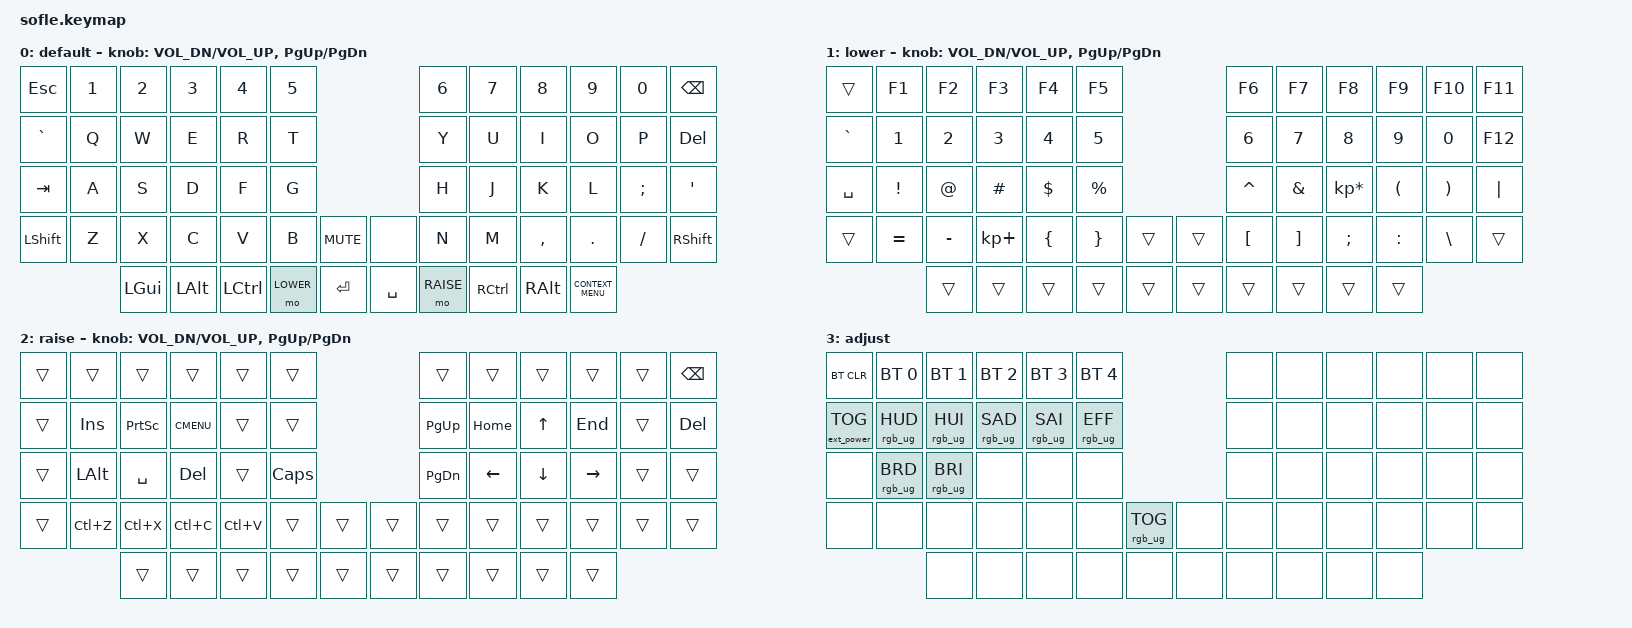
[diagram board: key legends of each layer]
/*
 * Copyright (c) 2020 The ZMK Contributors
 *
 * SPDX-License-Identifier: MIT
 */

#include <behaviors.dtsi>
#include <dt-bindings/zmk/bt.h>
#include <dt-bindings/zmk/ext_power.h>
#include <dt-bindings/zmk/keys.h>
#include <dt-bindings/zmk/rgb.h>

#define BASE 0
#define LOWER 1
#define RAISE 2
#define ADJUST 3

/ {
    // Activate ADJUST layer by pressing raise and lower

    conditional_layers {
        compatible = "zmk,conditional-layers";

        adjust_layer {
            if-layers = <LOWER RAISE>;
            then-layer = <ADJUST>;
        };
    };

    keymap {
        compatible = "zmk,keymap";

        default_layer {
            display-name = "default";

            // ------------------------------------------------------------------------------------------------------------
            // |  ESC  |  1  |  2  |  3   |  4   |  5   |                   |  6   |  7    |  8    |  9   |   0   | BKSPC |
            // |   `   |  Q  |  W  |  E   |  R   |  T   |                   |  Y   |  U    |  I    |  O   |   P   |  DEL  |
            // |  TAB  |  A  |  S  |  D   |  F   |  G   |                   |  H   |  J    |  K    |  L   |   ;   |   '   |
            // | SHIFT |  Z  |  X  |  C   |  V   |  B   |  MUTE  |  |       |  N   |  M    |  ,    |  .   |   /   | SHIFT |
            //               | GUI | ALT  | CTRL | LOWER| ENTER  |  | SPACE | RAISE| CTRL  | ALT   | CONTEXT |

            bindings = <
&kp ESC    &kp N1  &kp N2    &kp N3    &kp N4     &kp N5                              &kp N6     &kp N7     &kp N8     &kp N9              &kp N0    &kp BSPC
&kp GRAVE  &kp Q   &kp W     &kp E     &kp R      &kp T                               &kp Y      &kp U      &kp I      &kp O               &kp P     &kp DEL
&kp TAB    &kp A   &kp S     &kp D     &kp F      &kp G                               &kp H      &kp J      &kp K      &kp L               &kp SEMI  &kp SQT
&kp LSHFT  &kp Z   &kp X     &kp C     &kp V      &kp B      &kp C_MUTE    &none      &kp N      &kp M      &kp COMMA  &kp DOT             &kp FSLH  &kp RSHFT
                   &kp LGUI  &kp LALT  &kp LCTRL  &mo LOWER  &kp RET       &kp SPACE  &mo RAISE  &kp RCTRL  &kp RALT   &kp K_CONTEXT_MENU
            >;

            sensor-bindings = <&inc_dec_kp C_VOL_DN C_VOL_UP &inc_dec_kp PG_UP PG_DN>;
        };

        lower_layer {
            display-name = "lower";

            // TODO: Some binds are waiting for shifted keycode support.
            // ------------------------------------------------------------------------------------------------------------
            // |       |  F1 |  F2 |  F3  |  F4  |  F5  |                   |  F6  |  F7   |  F8   |  F9  |  F10  |  F11  |
            // |   `   |  1  |  2  |  3   |  4   |  5   |                   |  6   |  7    |  8    |  9   |   0   |  F12  |
            // |       |  !  |  @  |  #   |  $   |  %   |                   |  ^   |  &    |  *    |  (   |   )   |   |   |
            // |       |  =  |  -  |  +   |  {   |  }   |        |  |       |  [   |  ]    |  ;    |  :   |   \   |       |
            //               |     |      |      |      |        |  |       |      |       |       |      |

            bindings = <
&trans     &kp F1     &kp F2     &kp F3       &kp F4    &kp F5                       &kp F6     &kp F7    &kp F8           &kp F9     &kp F10   &kp F11
&kp GRAVE  &kp N1     &kp N2     &kp N3       &kp N4    &kp N5                       &kp N6     &kp N7    &kp N8           &kp N9     &kp N0    &kp F12
&kp SPACE  &kp EXCL   &kp AT     &kp HASH     &kp DLLR  &kp PRCNT                    &kp CARET  &kp AMPS  &kp KP_MULTIPLY  &kp LPAR   &kp RPAR  &kp PIPE
&trans     &kp EQUAL  &kp MINUS  &kp KP_PLUS  &kp LBRC  &kp RBRC   &trans    &trans  &kp LBKT   &kp RBKT  &kp SEMI         &kp COLON  &kp BSLH  &trans
                      &trans     &trans       &trans    &trans     &trans    &trans  &trans     &trans    &trans           &trans
            >;

            sensor-bindings = <&inc_dec_kp C_VOL_DN C_VOL_UP &inc_dec_kp PG_UP PG_DN>;
        };

        raise_layer {
            display-name = "raise";

            // ------------------------------------------------------------------------------------------------------------
            // | BTCLR | BT1  | BT2  |  BT3  |  BT4  |  BT5 |                |      |      |       |      |       | BKSPC |
            // |       | INS  | PSCR | GUI   |       |      |                | PGUP | HOME |   ^   | END  |       |  DEL  |
            // |       | ALT  | CTRL | SHIFT |       | CAPS |                | PGDN |   <- |   v   |  ->  |       |       |
            // |       | UNDO | CUT  | COPY  | PASTE |      |      |  |      |      |      |       |      |       |       |
            //                |      |       |       |      |      |  |      |      |      |       |      |

            bindings = <
&trans  &trans     &trans     &trans       &trans     &trans                      &trans     &trans    &trans    &trans     &trans  &kp BSPC
&trans  &kp INS    &kp PSCRN  &kp K_CMENU  &trans     &trans                      &kp PG_UP  &kp HOME  &kp UP    &kp END    &trans  &kp DEL
&trans  &kp LALT   &kp SPACE  &kp DELETE   &trans     &kp CLCK                    &kp PG_DN  &kp LEFT  &kp DOWN  &kp RIGHT  &trans  &trans
&trans  &kp LC(Z)  &kp LC(X)  &kp LC(C)    &kp LC(V)  &trans    &trans    &trans  &trans     &trans    &trans    &trans     &trans  &trans
                   &trans     &trans       &trans     &trans    &trans    &trans  &trans     &trans    &trans    &trans
            >;

            sensor-bindings = <&inc_dec_kp C_VOL_DN C_VOL_UP &inc_dec_kp PG_UP PG_DN>;
        };

        adjust_layer {
            // ----------------------------------------------------------------------------------------------------------------------------
            // | BTCLR  |  BT1    |  BT2    |   BT3   |   BT4   |   BT5   |                  |      |      |       |      |       |       |
            // | EXTPWR | RGB_HUD | RGB_HUI | RGB_SAD | RGB_SAI | RGB_EFF |                  |      |      |       |      |       |       |
            // |        | RGB_BRD | RGB_BRI |         |         |         |                  |      |      |       |      |       |       |
            // |        |         |         |         |         |         | RGB_TOG | |      |      |      |       |      |       |       |
            //                    |         |         |         |         |         | |      |      |      |       |      |

            display-name = "adjust";
            bindings = <
&bt BT_CLR         &bt BT_SEL 0     &bt BT_SEL 1     &bt BT_SEL 2     &bt BT_SEL 3     &bt BT_SEL 4                               &none  &none  &none  &none  &none  &none
&ext_power EP_TOG  &rgb_ug RGB_HUD  &rgb_ug RGB_HUI  &rgb_ug RGB_SAD  &rgb_ug RGB_SAI  &rgb_ug RGB_EFF                            &none  &none  &none  &none  &none  &none
&none              &rgb_ug RGB_BRD  &rgb_ug RGB_BRI  &none            &none            &none                                      &none  &none  &none  &none  &none  &none
&none              &none            &none            &none            &none            &none            &rgb_ug RGB_TOG    &none  &none  &none  &none  &none  &none  &none
                                    &none            &none            &none            &none            &none              &none  &none  &none  &none  &none
            >;
        };
    };
};
